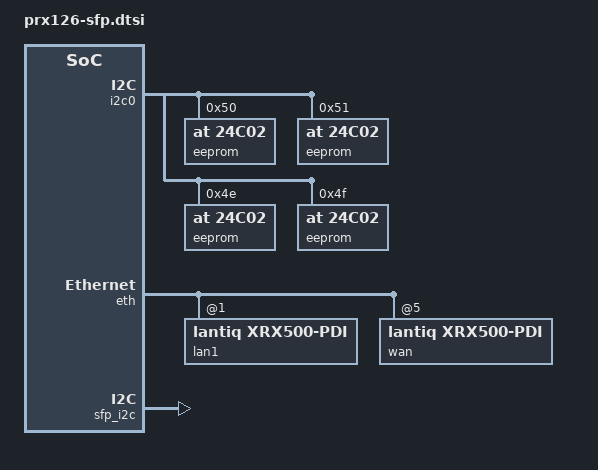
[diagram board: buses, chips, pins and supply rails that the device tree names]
#include <dt-bindings/gpio/gpio.h>
#include "prx300.dtsi"

&i2c0 {
	status = "okay";

	/* EEPROM of the optical WAN transceiver */
	eeprom@50 {
		compatible = "at,24c02";
		reg = <0x50>;
	};
	eeprom@51 {
		compatible = "at,24c02";
		reg = <0x51>;
	};

	/* EEPROM of the MACOM optical WAN transceiver */
	/* The datasheet says these are at,24c08, but then probe will fail. */
	eeprom@4e {
		compatible = "at,24c02";
		reg = <0x4e>;
		pagesize = <16>;
	};
	eeprom@4f {
		compatible = "at,24c02";
		reg = <0x4f>;
		pagesize = <16>;
	};
};


/******************************************************************************
 ** Board configuration: Configure LAN/WAN interfaces
 ******************************************************************************/
&eth {
	status = "okay";

	lan1: interface@1 {
		compatible = "lantiq,xrx500-pdi";
		#address-cells = <1>;
		#size-cells = <0>;
		reg = <1>;
		intel,dp-dev-port = <4>;
		intel,dp-port-id = <4>;
		mac = <&gsw_mac2>;
		intel,lct-en = <1>;
		intel,extra-subif = <3>;

		ethernet@1 {
			compatible = "lantiq,xrx500-pdi-port";
			reg = <2>;
			phy-mode = "rgmii";
		};
	};

	wan: interface@5 {
		compatible = "lantiq,xrx500-pdi";
		#address-cells = <1>;
		#size-cells = <0>;
		reg = <5>;
		lantiq,wan = <1>;
		intel,dp-dev-port = <2>;
		intel,dp-port-id = <2>;
		mac = <&gsw_mac0>;

		ethernet@5 {
			compatible = "lantiq,xrx500-pdi-port";
			reg = <1>;
			phy-mode = "rgmii";
		};
	};
};

/* This is needed to improve qspi stability on the board */
&pinctrl_qspi {
	intel,slew-rate = <1>;
	intel,drive-current = <3>;
};

&ssc0 {
	status = "disabled";
	pinctrl-0 = <&pinctrl_spi0_alt &pinctrl_spi0_cs_alt>;

	ltq-spinand@1 {
		status = "disabled";
		#address-cells = <1>;
		#size-cells = <1>;
		reg = <1>;
		compatible = "lantiq,spinand";
		linux,mtd-name = "nand.0";
		spi-max-frequency = <15384615>;
	};
};

&qspi0 {
	status = "disabled";

	ltq-spinand@0 {
		status = "disabled";
		#address-cells = <1>;
		#size-cells = <1>;
		compatible = "lantiq,spinand";
		reg = <0 1>;
		linux,mtd-name = "nand.0";
		spi-max-frequency = <50000000>;
		page-size = <2048>;
		block-size = <17>; // 2^17, 128KB
		spi-tx-bus-width = <4>;
		spi-rx-bus-width = <4>;

		/* Read-delay is needed for higher freq.
		 * 2 ref_clk is chosen as value that works well upto
		 * spi-freq 50MHz (with ref_clk 100MHz).
		 */
		read-delay = <2>;
		tshsl-ns = <200>;
		tsd2d-ns = <255>;
		tchsh-ns = <20>;
		tslch-ns = <20>;
	};
};

&wan_xpcs {
	status = "disabled";
	xpcs-conntype = "SFP"; /* SFP or PHY */
};

&lan_xpcs1 {
	status = "disabled";
	xpcs-conntype = "SFP"; /* SFP or PHY */
};

/*Bit0 denotes - qos mode 0 - "full_qos", 1 - "short_cut" */
/*Bit1 denotes - link speed 0 - "10G", 1 - "others" */
/*0 - 10G full qos*/
/*1 - 10G short cut*/
/*2 - 1G full qos*/
/*3 - 1G short cut*/
&gsw_core {
	gsw_mode = <0>;
};

/******************************************************************************
 ** Select single CPU mode to avoid problems with the I2C Slave emulation
 ******************************************************************************/

&cpu1 {
	default-OS = "NONE";
	/delete-property/ operating-points-v2;
};

&cpu2 {
	default-OS = "NONE";
	/delete-property/ operating-points-v2;
};

&cpu3 {
	default-OS = "NONE";
	/delete-property/ operating-points-v2;
};

&cpu_opp_table {
	opp@800000000 {
		status = "disabled";
	};
};

/** I2C Slave emulation with EEPROM */
&sfp_i2c {
	status = "okay";
	gpio-moddef0 = <&gpio0 8 GPIO_ACTIVE_HIGH>;
};

&pinctrl {
	rx_los_disabled: rx-los-disabled {
		intel,groups = "rx_los_dis";
		intel,function = "gpio";
		intel,pins = <25>;
		intel,mux = <EQBR_MUX_0>;
	};

	rx_los_enabled: rx-los-enabled {
		intel,groups = "rx_los_en";
		intel,function = "pon_ip";
		intel,pins = <25>;
		intel,mux = <EQBR_MUX_2>;
	};

	pin_1pps_disabled: pin_1pps-disabled {
		intel,groups = "1pps_dis";
		intel,function = "gpio";
		intel,pins = <29>;
		intel,mux = <EQBR_MUX_0>;
	};

	ntr_disabled: ntr-disabled {
		intel,groups = "ntr_dis";
		intel,function = "gpio";
		intel,pins = <28>;
		intel,mux = <EQBR_MUX_0>;
	};

	ntr_enabled: ntr-enabled {
		intel,groups = "ntr_en";
		intel,function = "pon_ip";
		intel,pins = <28>;
		intel,mux = <EQBR_MUX_2>;
	};
};

/ {
	pinselect_rx_los: pinselect-rx-los {
		compatible = "intel,pon-pinselect-rx-los";
		pinctrl-names = "default","disable","enable";
		pinctrl-0 = <&rx_los_disabled>;
		pinctrl-1 = <&rx_los_disabled>;
		pinctrl-2 = <&rx_los_enabled>;
	};

	pinselect-1pps {
		compatible = "intel,pon-pinselect-1pps";
		pinctrl-names = "default","disable","enable";
		pinctrl-0 = <&pin_1pps_disabled>;
		pinctrl-1 = <&pin_1pps_disabled>;
		pinctrl-2 = <&pinctrl_gpc3>;
	};

	pinselect-ntr {
		compatible = "intel,pon-pinselect-ntr";
		pinctrl-names = "default","disable","enable";
		pinctrl-0 = <&ntr_disabled>;
		pinctrl-1 = <&ntr_disabled>;
		pinctrl-2 = <&ntr_enabled>;
	};
};
